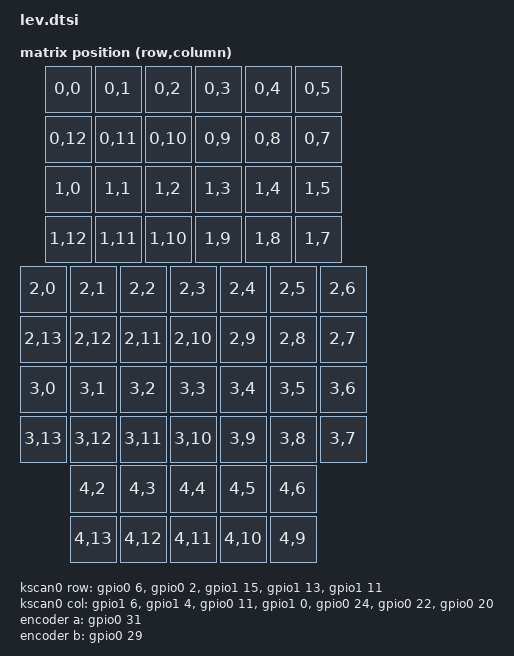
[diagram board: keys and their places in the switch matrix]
#include <dt-bindings/zmk/matrix_transform.h>

/ {
    kscan0: kscan {
        compatible = "zmk,kscan-gpio-matrix";
        wakeup-source;
        diode-direction = "col2row";

        /* P1.06 P1.04 P0.11 P1.00 P0.24 P0.22 P0.20 */
        col-gpios = <&gpio1 6 GPIO_ACTIVE_HIGH>,
                    <&gpio1 4 GPIO_ACTIVE_HIGH>,
                    <&gpio0 11 GPIO_ACTIVE_HIGH>,
                    <&gpio1 0 GPIO_ACTIVE_HIGH>,
                    <&gpio0 24 GPIO_ACTIVE_HIGH>,
                    <&gpio0 22 GPIO_ACTIVE_HIGH>,
                    <&gpio0 20 GPIO_ACTIVE_HIGH>;

        /* P0.06 P0.02 P1.15 P1.13 P1.11: num, atop, amid, abot, mod/thumb */
        row-gpios = <&gpio0 6 (GPIO_ACTIVE_HIGH | GPIO_PULL_DOWN)>,
                    <&gpio0 2 (GPIO_ACTIVE_HIGH | GPIO_PULL_DOWN)>,
                    <&gpio1 15 (GPIO_ACTIVE_HIGH | GPIO_PULL_DOWN)>,
                    <&gpio1 13 (GPIO_ACTIVE_HIGH | GPIO_PULL_DOWN)>,
                    <&gpio1 11 (GPIO_ACTIVE_HIGH | GPIO_PULL_DOWN)>;
    };

    default_transform: keymap_transform {
        compatible = "zmk,matrix-transform";
        rows = <5>;
        columns = <14>;
        map = <
            /* num: left outer->inner, right inner->outer */
            RC(0,0) RC(0,1) RC(0,2) RC(0,3) RC(0,4) RC(0,5)
            RC(0,12) RC(0,11) RC(0,10) RC(0,9) RC(0,8) RC(0,7)

            /* atop */
            RC(1,0) RC(1,1) RC(1,2) RC(1,3) RC(1,4) RC(1,5)
            RC(1,12) RC(1,11) RC(1,10) RC(1,9) RC(1,8) RC(1,7)

            /* amid + encoder push switches toward the center */
            RC(2,0) RC(2,1) RC(2,2) RC(2,3) RC(2,4) RC(2,5) RC(2,6)
            RC(2,13) RC(2,12) RC(2,11) RC(2,10) RC(2,9) RC(2,8) RC(2,7)

            /* abot + far-thumb-top switches toward the center */
            RC(3,0) RC(3,1) RC(3,2) RC(3,3) RC(3,4) RC(3,5) RC(3,6)
            RC(3,13) RC(3,12) RC(3,11) RC(3,10) RC(3,9) RC(3,8) RC(3,7)

            /* bottom/mod row: ring middle index near-thumb far-thumb */
            RC(4,2) RC(4,3) RC(4,4) RC(4,5) RC(4,6)
            RC(4,13) RC(4,12) RC(4,11) RC(4,10) RC(4,9)
        >;
    };

    encoder: encoder {
        compatible = "alps,ec11";
        a-gpios = <&gpio0 31 (GPIO_ACTIVE_HIGH | GPIO_PULL_UP)>;
        b-gpios = <&gpio0 29 (GPIO_ACTIVE_HIGH | GPIO_PULL_UP)>;
        steps = <80>;
        status = "disabled";
    };

    sensors: sensors {
        compatible = "zmk,keymap-sensors";
        sensors = <&encoder>;
        triggers-per-rotation = <20>;
    };
};
